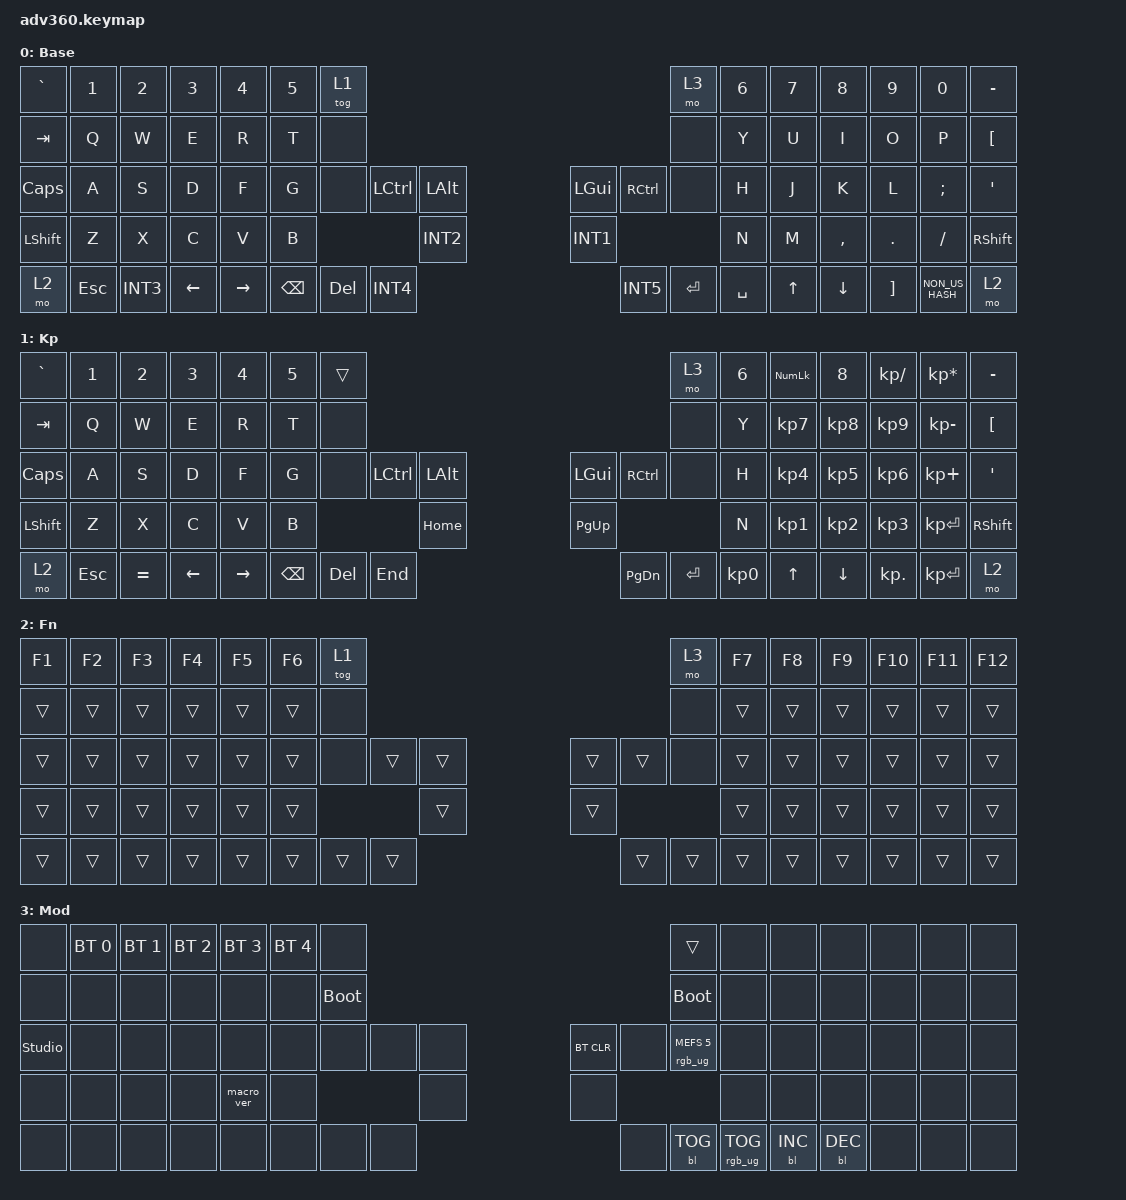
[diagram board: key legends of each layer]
#include <behaviors.dtsi>
#include <dt-bindings/zmk/keys.h>
#include <dt-bindings/zmk/bt.h>
#include <dt-bindings/zmk/rgb.h>
#include <dt-bindings/zmk/stp.h>
#include <dt-bindings/zmk/backlight.h>
#include <dt-bindings/zmk/pointing.h>

/ {
    behaviors {
      #include "macros.dtsi"
      #include "version.dtsi"

      hm: homerow_mods {
          compatible = "zmk,behavior-hold-tap";
          label = "HOMEROW_MODS";
          #binding-cells = <2>;
          tapping-term-ms = <200>;
          quick_tap_ms = <175>;
          flavor = "tap-preferred";
          bindings = <&kp>, <&kp>;
      };
    };

    keymap {
        compatible = "zmk,keymap";


        default_layer {
          display-name = "Base";

            bindings = <
 &kp GRAVE   &kp N1    &kp N2    &kp N3     &kp N4  &kp N5              &tog 1                                                                &mo 3  &kp N6  &kp N7     &kp N8             &kp N9           &kp N0         &kp MINUS
   &kp TAB    &kp Q     &kp W     &kp E      &kp R   &kp T               &none                                                                &none   &kp Y   &kp U      &kp I              &kp O            &kp P  &kp LEFT_BRACKET
  &kp CAPS    &kp A     &kp S     &kp D      &kp F   &kp G               &none  &kp LCTRL  &kp LALT                  &kp LGUI  &kp RCTRL      &none   &kp H   &kp J      &kp K              &kp L    &kp SEMICOLON  &kp SINGLE_QUOTE
 &kp LSHFT    &kp Z     &kp X     &kp C      &kp V   &kp B                                 &kp INT2                  &kp INT1                         &kp N   &kp M  &kp COMMA            &kp DOT         &kp FSLH         &kp RSHFT
     &mo 2  &kp ESC  &kp INT3  &kp LEFT  &kp RIGHT                    &kp BSPC    &kp DEL  &kp INT4                  &kp INT5  &kp ENTER  &kp SPACE          &kp UP   &kp DOWN  &kp RIGHT_BRACKET  &kp NON_US_HASH             &mo 2
            >;
        };

        layer_keypad {
          display-name = "Kp";

            bindings = <
 &kp GRAVE   &kp N1     &kp N2    &kp N3     &kp N4  &kp N5              &trans                                                                 &mo 3  &kp N6  &kp KP_NUM     &kp N8  &kp KP_DIVIDE  &kp KP_MULTIPLY         &kp MINUS
   &kp TAB    &kp Q      &kp W     &kp E      &kp R   &kp T               &none                                                                 &none   &kp Y   &kp KP_N7  &kp KP_N8      &kp KP_N9     &kp KP_MINUS  &kp LEFT_BRACKET
  &kp CAPS    &kp A      &kp S     &kp D      &kp F   &kp G               &none  &kp LCTRL  &kp LALT                   &kp LGUI  &kp RCTRL      &none   &kp H   &kp KP_N4  &kp KP_N5      &kp KP_N6      &kp KP_PLUS  &kp SINGLE_QUOTE
 &kp LSHFT    &kp Z      &kp X     &kp C      &kp V   &kp B                                 &kp HOME                  &kp PG_UP                         &kp N   &kp KP_N1  &kp KP_N2      &kp KP_N3     &kp KP_ENTER         &kp RSHFT
     &mo 2  &kp ESC  &kp EQUAL  &kp LEFT  &kp RIGHT                    &kp BSPC    &kp DEL   &kp END                  &kp PG_DN  &kp ENTER  &kp KP_N0              &kp UP   &kp DOWN     &kp KP_DOT     &kp KP_ENTER             &mo 2
            >;
        };

        layer_fn {
          display-name = "Fn";

            bindings = <
 &kp F1  &kp F2  &kp F3  &kp F4  &kp F5  &kp F6            &tog 1                                                   &mo 3  &kp F7  &kp F8  &kp F9  &kp F10  &kp F11  &kp F12
 &trans  &trans  &trans  &trans  &trans  &trans             &none                                                   &none  &trans  &trans  &trans   &trans   &trans   &trans
 &trans  &trans  &trans  &trans  &trans  &trans             &none  &trans  &trans                  &trans  &trans   &none  &trans  &trans  &trans   &trans   &trans   &trans
 &trans  &trans  &trans  &trans  &trans  &trans                            &trans                  &trans                  &trans  &trans  &trans   &trans   &trans   &trans
 &trans  &trans  &trans  &trans  &trans                    &trans  &trans  &trans                  &trans  &trans  &trans          &trans  &trans   &trans   &trans   &trans
            >;
        };

        layer_mod {
          display-name = "Mod";

            bindings = <
  &none  &bt BT_SEL 0  &bt BT_SEL 1  &bt BT_SEL 2  &bt BT_SEL 3  &bt BT_SEL 4                  &none                                                                          &trans   &none       &none       &none   &none   &none   &none
  &none         &none         &none         &none         &none         &none            &bootloader                                                                     &bootloader   &none       &none       &none   &none   &none   &none
  &studio_unlock &none         &none         &none         &none         &none                  &none   &none   &none                  &bt BT_CLR       &none  &rgb_ug RGB_MEFS_CMD 5   &none       &none       &none   &none   &none   &none
  &none         &none         &none         &none    &macro_ver         &none                                  &none                       &none                                       &none       &none       &none   &none   &none   &none
  &none         &none         &none         &none         &none                                &none   &none   &none                       &none  &bl BL_TOG         &rgb_ug RGB_TOG          &bl BL_INC  &bl BL_DEC   &none   &none   &none
            >;
        };
        extra1 { 
          display-name = "Red";    
          status = "reserved";
        };
    
        extra2 { 
          display-name = "Purple";    
          status = "reserved";
        };
    
        extra3 { 
          display-name = "Cyan";    
          status = "reserved";
        };
    
        extra4 { 
          display-name = "Yellow";    
          status = "reserved";
        };
    };
};
